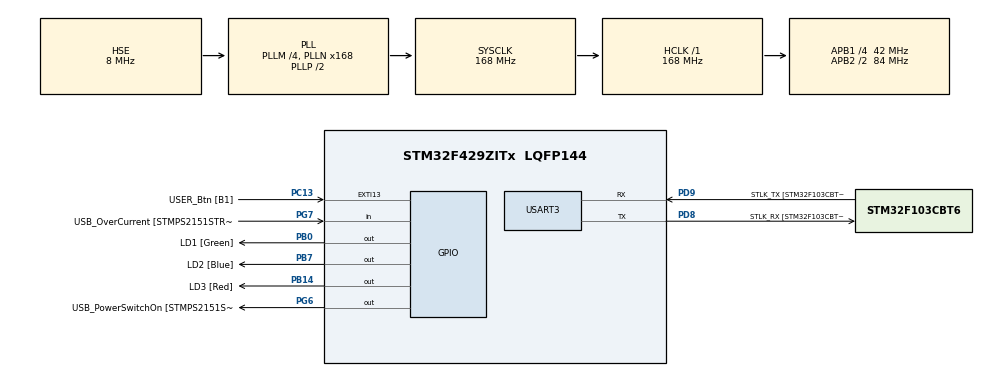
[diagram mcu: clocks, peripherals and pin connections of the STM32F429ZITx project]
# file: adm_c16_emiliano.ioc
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Mcu.Family=STM32F4
Mcu.Name=STM32F429ZITx
Mcu.Package=LQFP144
NVIC.PriorityGroup=NVIC_PRIORITYGROUP_4
PA1.GPIO_Label=RMII_REF_CLK [LAN8742A-CZ-TR_REFCLK0]
PA1.Signal=ETH_REF_CLK
PA10.GPIO_Label=USB_ID
PA10.Signal=USB_OTG_FS_ID
PA11.GPIO_Label=USB_DM
PA11.Signal=USB_OTG_FS_DM
PA12.GPIO_Label=USB_DP
PA12.Signal=USB_OTG_FS_DP
PA13.GPIO_Label=TMS
PA13.Mode=Serial_Wire
PA13.Signal=SYS_JTMS-SWDIO
PA14.GPIO_Label=TCK
PA14.Mode=Serial_Wire
PA14.Signal=SYS_JTCK-SWCLK
PA2.GPIO_Label=RMII_MDIO [LAN8742A-CZ-TR_MDIO]
PA2.Signal=ETH_MDIO
PA7.GPIO_Label=RMII_CRS_DV [LAN8742A-CZ-TR_CRS_DV]
PA7.Signal=ETH_CRS_DV
PA8.GPIO_Label=USB_SOF [TP1]
PA8.Signal=USB_OTG_FS_SOF
PA9.GPIO_Label=USB_VBUS
PA9.Signal=USB_OTG_FS_VBUS
PB0.GPIO_Label=LD1 [Green]
PB0.Signal=GPIO_Output
PB13.GPIO_Label=RMII_TXD1 [LAN8742A-CZ-TR_TXD1]
PB13.Signal=ETH_TXD1
PB14.GPIO_Label=LD3 [Red]
PB14.Signal=GPIO_Output
PB7.GPIO_Label=LD2 [Blue]
PB7.Signal=GPIO_Output
PC1.GPIO_Label=RMII_MDC [LAN8742A-CZ-TR_MDC]
PC1.Signal=ETH_MDC
PC13.GPIO_Label=USER_Btn [B1]
PC13.Signal=GPXTI13
PC14/OSC32_IN.Mode=LSE-External-Oscillator
PC14/OSC32_IN.Signal=RCC_OSC32_IN
PC15/OSC32_OUT.Mode=LSE-External-Oscillator
PC15/OSC32_OUT.Signal=RCC_OSC32_OUT
PC4.GPIO_Label=RMII_RXD0 [LAN8742A-CZ-TR_RXD0]
PC4.Signal=ETH_RXD0
PC5.GPIO_Label=RMII_RXD1 [LAN8742A-CZ-TR_RXD1]
PC5.Signal=ETH_RXD1
PD8.GPIO_Label=STLK_RX [STM32F103CBT6_PA3]
PD8.Mode=Asynchronous
PD8.Signal=USART3_TX
PD9.GPIO_Label=STLK_TX [STM32F103CBT6_PA2]
PD9.Mode=Asynchronous
PD9.Signal=USART3_RX
PG11.GPIO_Label=RMII_TX_EN [LAN8742A-CZ-TR_TXEN]
PG11.Signal=ETH_TX_EN
PG13.GPIO_Label=RMII_TXD0 [LAN8742A-CZ-TR_TXD0]
PG13.Signal=ETH_TXD0
PG6.GPIO_Label=USB_PowerSwitchOn [STMPS2151STR_EN]
PG6.Signal=GPIO_Output
PG7.GPIO_Label=USB_OverCurrent [STMPS2151STR_FAULT]
PG7.Signal=GPIO_Input
PH0/OSC_IN.GPIO_Label=MCO [STM32F103CBT6_PA8]
PH0/OSC_IN.Mode=HSE-External-Clock-Source
PH0/OSC_IN.Signal=RCC_OSC_IN
PH1/OSC_OUT.Mode=HSE-External-Clock-Source
PH1/OSC_OUT.Signal=RCC_OSC_OUT
ProjectManager.HeapSize=0x200
ProjectManager.StackSize=0x400
ProjectManager.TargetToolchain=STM32CubeIDE
RCC.48MHZClocksFreq_Value=48000000
RCC.AHBFreq_Value=168000000
RCC.APB1CLKDivider=RCC_HCLK_DIV4
RCC.APB1Freq_Value=42000000
RCC.APB1TimFreq_Value=84000000
RCC.APB2CLKDivider=RCC_HCLK_DIV2
RCC.APB2Freq_Value=84000000
RCC.APB2TimCLKDivider=2
RCC.APB2TimFreq_Value=168000000
RCC.CortexFreq_Value=168000000
RCC.HCLKFreq_Value=168000000
RCC.HSE_VALUE=8000000
RCC.HSI_VALUE=16000000
RCC.PLLM=4
RCC.PLLMUL=RCC_PLL_MUL9
RCC.PLLN=168
RCC.PLLQ=7
RCC.PLLSourceVirtual=RCC_PLLSOURCE_HSE
RCC.PRESCALERUSB=RCC_USBCLKSOURCE_PLL_DIV1_5
RCC.SYSCLKFreq_VALUE=168000000
RCC.SYSCLKSource=RCC_SYSCLKSOURCE_PLLCLK
RCC.SYSCLKSourceVirtual=RCC_SYSCLKSOURCE_PLLCLK
RCC.USBFreq_Value=48000000
RCC.VCOOutputFreq_Value=336000000
USART3.VirtualMode=VM_ASYNC
board=NUCLEO-F429ZI

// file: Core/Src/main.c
/* USER CODE BEGIN Header */
/**
  ******************************************************************************
  * @file           : main.c
  * @brief          : Main program body
  ******************************************************************************
  * @attention
  *
  * Copyright (c) 2022 STMicroelectronics.
  * All rights reserved.
  *
  * This software is licensed under terms that can be found in the LICENSE file
  * in the root directory of this software component.
  * If no LICENSE file comes with this software, it is provided AS-IS.
  *
  ******************************************************************************
  */
/* USER CODE END Header */
#include "main.h"
#include "string.h"

//HACER EJERCICIOS DEL 5 AL 9 EN C Y EN ASM//

/* USER CODE BEGIN Includes */

#include "asm_func.h"
#include "C_func.h"

/* USER CODE END Includes */

 UART_HandleTypeDef huart3;

void SystemClock_Config(void);
static void MX_GPIO_Init(void);
static void MX_USART3_UART_Init(void);

/* USER CODE BEGIN PFP */

static void PrivilegiosSVC (void)
{
    // Obtiene valor del registro de 32 bits del procesador llamado "control".
    // El registro guarda los siguientes estados:
    // bit 2: Uso de FPU en el contexto actual. Usado=1, no usado=0.
    // bit 1: Mapeo del stack pointer(sp). MSP=0, PSP=1.
    // bit 0: Modo de ejecucion en Thread. Privilegiado=0, No privilegiado=1.
    //        Recordar que este valor solo se usa en modo Thread. Las
    //        interrupciones siempre se ejecutan en modo Handler con total
    //        privilegio.
    uint32_t x = __get_CONTROL ();

    // Actividad de debug: Ver registro "control" y valor de variable "x".
    //__BKPT (0);

    x |= 1;
    // bit 0 a modo No privilegiado.
    __set_CONTROL (x);

    // En este punto se estaria ejecutando en modo No privilegiado.
    // Lectura del registro "control" para confirmar.
    x = __get_CONTROL ();

    // Actividad de debug: Ver registro "control" y valor de variable "x".
    //__BKPT (0);

    x &= ~1u;
    // Se intenta volver a modo Privilegiado (bit 0, valor 0).
    __set_CONTROL (x);

    // Confirma que esta operacion es ignorada por estar ejecutandose en modo
    // Thread no privilegiado.
    x = __get_CONTROL ();

    // Actividad de debug: Ver registro "control" y valor de variable "x".
    //__BKPT (0);

    // En este punto, ejecutando en modo Thread no privilegiado, la unica forma
    // de volver a modo privilegiado o de realizar cualquier cambio que requiera
    // modo privilegiado, es pidiendo ese servicio a un hipotetico sistema
    // opertivo de tiempo real.
    // Para esto se invoca por software a la interrupcion SVC (Supervisor Call)
    // utilizando la instruccion "svc".
    // No hay intrinsics para realizar esta tarea. Para utilizar la instruccion
    // es necesario implementar una funcion en assembler. Ver el archivo
    // asm_func.S.
    asm_svc ();

    // El sistema operativo (el handler de SVC) deberia haber devuelto el modo
    // de ejecucion de Thread a privilegiado (bit 0 en valor 0).
    x = __get_CONTROL ();

    // Fin del ejemplo de SVC
}

/* USER CODE END PFP */

int main(void)
{

  /* MCU Configuration--------------------------------------------------------*/

  /* Reset of all peripherals, Initializes the Flash interface and the Systick. */
  HAL_Init();

  /* Configure the system clock */
  SystemClock_Config();

  /* Initialize all configured peripherals */
  MX_GPIO_Init();
  MX_USART3_UART_Init();
  /* USER CODE BEGIN 2 */

//uint32_t vector1[]={0,1,2,3,4,5,6,7545,8,9000};
//zeros(vector1, 10);

uint16_t vec1[]={5000,6500,20,15465,256,2323,8000,545,56,15};
uint16_t vec2[10]={0};

//asm_filtroVentana10 (vec1, vec2, 15);

asm_filtroVentana10 (vec1, vec2, 10);

//DWT->CTRL |=1 << DWT_CTRL_CYCCNTENA_Pos;

//asm_productoEscalar32 (vec1, vec2, 5, escal);
//DWT->CYCCNT =0;
//productoEscalar12 (vec1, vec2, 5, escal);
//uint32_t volatile c=DWT->CYCCNT;
//int32_t b = max (vec1, 5);
//pack32to16 (vec1, vec2, 5);
//filtroVentana10 (vec1, vec2, 20);

PrivilegiosSVC ();

/* USER CODE END 2 */

  /* Infinite loop */
  while (1)
  {

  }
}

void SystemClock_Config(void)
{
  RCC_OscInitTypeDef RCC_OscInitStruct = {0};
  RCC_ClkInitTypeDef RCC_ClkInitStruct = {0};

  /** Configure the main internal regulator output voltage
  */
  __HAL_RCC_PWR_CLK_ENABLE();
  __HAL_PWR_VOLTAGESCALING_CONFIG(PWR_REGULATOR_VOLTAGE_SCALE1);

  /** Initializes the RCC Oscillators according to the specified parameters
  * in the RCC_OscInitTypeDef structure.
  */
  RCC_OscInitStruct.OscillatorType = RCC_OSCILLATORTYPE_HSE;
  RCC_OscInitStruct.HSEState = RCC_HSE_BYPASS;
  RCC_OscInitStruct.PLL.PLLState = RCC_PLL_ON;
  RCC_OscInitStruct.PLL.PLLSource = RCC_PLLSOURCE_HSE;
  RCC_OscInitStruct.PLL.PLLM = 4;
  RCC_OscInitStruct.PLL.PLLN = 168;
  RCC_OscInitStruct.PLL.PLLP = RCC_PLLP_DIV2;
  RCC_OscInitStruct.PLL.PLLQ = 7;
  if (HAL_RCC_OscConfig(&RCC_OscInitStruct) != HAL_OK)
  {
    Error_Handler();
  }

  /** Initializes the CPU, AHB and APB buses clocks
  */
  RCC_ClkInitStruct.ClockType = RCC_CLOCKTYPE_HCLK|RCC_CLOCKTYPE_SYSCLK
                              |RCC_CLOCKTYPE_PCLK1|RCC_CLOCKTYPE_PCLK2;
  RCC_ClkInitStruct.SYSCLKSource = RCC_SYSCLKSOURCE_PLLCLK;
  RCC_ClkInitStruct.AHBCLKDivider = RCC_SYSCLK_DIV1;
  RCC_ClkInitStruct.APB1CLKDivider = RCC_HCLK_DIV4;
  RCC_ClkInitStruct.APB2CLKDivider = RCC_HCLK_DIV2;

  if (HAL_RCC_ClockConfig(&RCC_ClkInitStruct, FLASH_LATENCY_5) != HAL_OK)
  {
    Error_Handler();
  }
}

static void MX_USART3_UART_Init(void)
{

  huart3.Instance = USART3;
  huart3.Init.BaudRate = 115200;
  huart3.Init.WordLength = UART_WORDLENGTH_8B;
  huart3.Init.StopBits = UART_STOPBITS_1;
  huart3.Init.Parity = UART_PARITY_NONE;
  huart3.Init.Mode = UART_MODE_TX_RX;
  huart3.Init.HwFlowCtl = UART_HWCONTROL_NONE;
  huart3.Init.OverSampling = UART_OVERSAMPLING_16;
  if (HAL_UART_Init(&huart3) != HAL_OK)
  {
    Error_Handler();
  }

}

static void MX_GPIO_Init(void)
{
  GPIO_InitTypeDef GPIO_InitStruct = {0};

  /* GPIO Ports Clock Enable */
  __HAL_RCC_GPIOC_CLK_ENABLE();
  __HAL_RCC_GPIOH_CLK_ENABLE();
  __HAL_RCC_GPIOA_CLK_ENABLE();
  __HAL_RCC_GPIOB_CLK_ENABLE();
  __HAL_RCC_GPIOD_CLK_ENABLE();
  __HAL_RCC_GPIOG_CLK_ENABLE();

  /*Configure GPIO pin Output Level */
  HAL_GPIO_WritePin(GPIOB, LD1_Pin|LD3_Pin|LD2_Pin, GPIO_PIN_RESET);

  /*Configure GPIO pin Output Level */
  HAL_GPIO_WritePin(USB_PowerSwitchOn_GPIO_Port, USB_PowerSwitchOn_Pin, GPIO_PIN_RESET);

  /*Configure GPIO pin : USER_Btn_Pin */
  GPIO_InitStruct.Pin = USER_Btn_Pin;
  GPIO_InitStruct.Mode = GPIO_MODE_IT_RISING;
  GPIO_InitStruct.Pull = GPIO_NOPULL;
  HAL_GPIO_Init(USER_Btn_GPIO_Port, &GPIO_InitStruct);

  /*Configure GPIO pins : RMII_MDC_Pin RMII_RXD0_Pin RMII_RXD1_Pin */
  GPIO_InitStruct.Pin = RMII_MDC_Pin|RMII_RXD0_Pin|RMII_RXD1_Pin;
  GPIO_InitStruct.Mode = GPIO_MODE_AF_PP;
  GPIO_InitStruct.Pull = GPIO_NOPULL;
  GPIO_InitStruct.Speed = GPIO_SPEED_FREQ_VERY_HIGH;
  GPIO_InitStruct.Alternate = GPIO_AF11_ETH;
  HAL_GPIO_Init(GPIOC, &GPIO_InitStruct);

  /*Configure GPIO pins : RMII_REF_CLK_Pin RMII_MDIO_Pin RMII_CRS_DV_Pin */
  GPIO_InitStruct.Pin = RMII_REF_CLK_Pin|RMII_MDIO_Pin|RMII_CRS_DV_Pin;
  GPIO_InitStruct.Mode = GPIO_MODE_AF_PP;
  GPIO_InitStruct.Pull = GPIO_NOPULL;
  GPIO_InitStruct.Speed = GPIO_SPEED_FREQ_VERY_HIGH;
  GPIO_InitStruct.Alternate = GPIO_AF11_ETH;
  HAL_GPIO_Init(GPIOA, &GPIO_InitStruct);

  /*Configure GPIO pins : LD1_Pin LD3_Pin LD2_Pin */
  GPIO_InitStruct.Pin = LD1_Pin|LD3_Pin|LD2_Pin;
  GPIO_InitStruct.Mode = GPIO_MODE_OUTPUT_PP;
  GPIO_InitStruct.Pull = GPIO_NOPULL;
  GPIO_InitStruct.Speed = GPIO_SPEED_FREQ_LOW;
  HAL_GPIO_Init(GPIOB, &GPIO_InitStruct);

  /*Configure GPIO pin : RMII_TXD1_Pin */
  GPIO_InitStruct.Pin = RMII_TXD1_Pin;
  GPIO_InitStruct.Mode = GPIO_MODE_AF_PP;
  GPIO_InitStruct.Pull = GPIO_NOPULL;
  GPIO_InitStruct.Speed = GPIO_SPEED_FREQ_VERY_HIGH;
  GPIO_InitStruct.Alternate = GPIO_AF11_ETH;
  HAL_GPIO_Init(RMII_TXD1_GPIO_Port, &GPIO_InitStruct);

  /*Configure GPIO pin : USB_PowerSwitchOn_Pin */
  GPIO_InitStruct.Pin = USB_PowerSwitchOn_Pin;
  GPIO_InitStruct.Mode = GPIO_MODE_OUTPUT_PP;
  GPIO_InitStruct.Pull = GPIO_NOPULL;
  GPIO_InitStruct.Speed = GPIO_SPEED_FREQ_LOW;
  HAL_GPIO_Init(USB_PowerSwitchOn_GPIO_Port, &GPIO_InitStruct);

  /*Configure GPIO pin : USB_OverCurrent_Pin */
  GPIO_InitStruct.Pin = USB_OverCurrent_Pin;
  GPIO_InitStruct.Mode = GPIO_MODE_INPUT;
  GPIO_InitStruct.Pull = GPIO_NOPULL;
  HAL_GPIO_Init(USB_OverCurrent_GPIO_Port, &GPIO_InitStruct);

  /*Configure GPIO pins : USB_SOF_Pin USB_ID_Pin USB_DM_Pin USB_DP_Pin */
  GPIO_InitStruct.Pin = USB_SOF_Pin|USB_ID_Pin|USB_DM_Pin|USB_DP_Pin;
  GPIO_InitStruct.Mode = GPIO_MODE_AF_PP;
  GPIO_InitStruct.Pull = GPIO_NOPULL;
  GPIO_InitStruct.Speed = GPIO_SPEED_FREQ_VERY_HIGH;
  GPIO_InitStruct.Alternate = GPIO_AF10_OTG_FS;
  HAL_GPIO_Init(GPIOA, &GPIO_InitStruct);

  /*Configure GPIO pin : USB_VBUS_Pin */
  GPIO_InitStruct.Pin = USB_VBUS_Pin;
  GPIO_InitStruct.Mode = GPIO_MODE_INPUT;
  GPIO_InitStruct.Pull = GPIO_NOPULL;
  HAL_GPIO_Init(USB_VBUS_GPIO_Port, &GPIO_InitStruct);

  /*Configure GPIO pins : RMII_TX_EN_Pin RMII_TXD0_Pin */
  GPIO_InitStruct.Pin = RMII_TX_EN_Pin|RMII_TXD0_Pin;
  GPIO_InitStruct.Mode = GPIO_MODE_AF_PP;
  GPIO_InitStruct.Pull = GPIO_NOPULL;
  GPIO_InitStruct.Speed = GPIO_SPEED_FREQ_VERY_HIGH;
  GPIO_InitStruct.Alternate = GPIO_AF11_ETH;
  HAL_GPIO_Init(GPIOG, &GPIO_InitStruct);

}

void Error_Handler(void)
{
  __disable_irq();
  while (1)
  {
  }
}
